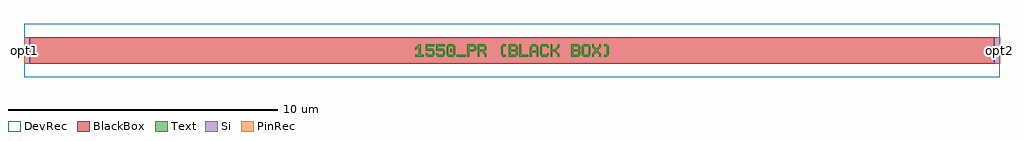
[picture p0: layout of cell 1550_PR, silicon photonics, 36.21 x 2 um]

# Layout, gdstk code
import gdstk
lib = gdstk.Library(unit=1e-6, precision=1e-09)
def R(c, l, rs):  # rectangles x0, y0, x1, y1
    for r in rs: c.add(gdstk.rectangle(r[:2], r[2:], *l))
def P(c, l, *ps):  # polygons
    for p in ps: c.add(gdstk.Polygon(p, *l))
Si = (1, 0)
PinRec = (1, 10)
Text = (10, 0)
DevRec = (68, 0)
BlackBox = (998, 0)

text = lib.new_cell('TEXT')
R(text, Text, [(1.544,0,1.865,0.064), (1.287,0.161,1.351,0.289)])
P(text, Text, [(0,0),(0,0.064),(0.129,0.064),(0.129,0.321),(0.096,0.321),(0.032,0.257),(0,0.257),(0,0.321),(0.129,0.45),(0.193,0.45),(0.193,0.064),(0.321,0.064),(0.321,0)],
  [(0.45,0),(0.386,0.064),(0.386,0.129),(0.45,0.129),(0.45,0.096),(0.482,0.064),(0.611,0.064),(0.643,0.096),(0.643,0.193),(0.611,0.225),(0.386,0.225),(0.386,0.45),(0.707,0.45),(0.707,0.386),(0.45,0.386),(0.45,0.289),(0.643,0.289),(0.707,0.225),(0.707,0.064),(0.643,0)],
  [(0.836,0),(0.772,0.064),(0.772,0.129),(0.836,0.129),(0.836,0.096),(0.868,0.064),(0.997,0.064),(1.029,0.096),(1.029,0.193),(0.997,0.225),(0.772,0.225),(0.772,0.45),(1.093,0.45),(1.093,0.386),(0.836,0.386),(0.836,0.289),(1.029,0.289),(1.093,0.225),(1.093,0.064),(1.029,0)],
  [(1.222,0),(1.158,0.064),(1.158,0.386),(1.222,0.45),(1.415,0.45),(1.479,0.386),(1.254,0.386),(1.222,0.354),(1.222,0.096),(1.254,0.064),(1.383,0.064),(1.415,0.096),(1.415,0.354),(1.383,0.386),(1.479,0.386),(1.479,0.064),(1.415,0)],
  [(1.93,0),(1.93,0.45),(2.187,0.45),(2.251,0.386),(2.251,0.257),(2.187,0.193),(1.994,0.193),(1.994,0.257),(2.155,0.257),(2.187,0.289),(2.187,0.354),(2.155,0.386),(1.994,0.386),(1.994,0)],
  [(2.316,0),(2.316,0.45),(2.573,0.45),(2.637,0.386),(2.38,0.386),(2.38,0.257),(2.541,0.257),(2.573,0.289),(2.573,0.354),(2.541,0.386),(2.637,0.386),(2.637,0.257),(2.573,0.193),(2.573,0.161),(2.637,0.096),(2.637,0),(2.573,0),(2.573,0.064),(2.445,0.193),(2.38,0.193),(2.38,0)],
  [(3.249,0),(3.184,0.064),(3.184,0.386),(3.249,0.45),(3.345,0.45),(3.345,0.386),(3.281,0.386),(3.249,0.354),(3.249,0.096),(3.281,0.064),(3.345,0.064),(3.345,0)],
  [(3.474,0),(3.474,0.45),(3.731,0.45),(3.795,0.386),(3.538,0.386),(3.538,0.257),(3.699,0.257),(3.731,0.289),(3.731,0.354),(3.699,0.386),(3.795,0.386),(3.795,0.257),(3.763,0.225),(3.795,0.193),(3.538,0.193),(3.538,0.064),(3.699,0.064),(3.731,0.096),(3.731,0.161),(3.699,0.193),(3.795,0.193),(3.795,0.064),(3.731,0)],
  [(3.86,0),(3.86,0.45),(3.924,0.45),(3.924,0.064),(4.181,0.064),(4.181,0)],
  [(4.246,0),(4.246,0.354),(4.342,0.45),(4.471,0.45),(4.535,0.386),(4.375,0.386),(4.31,0.321),(4.31,0.225),(4.503,0.225),(4.503,0.321),(4.439,0.386),(4.535,0.386),(4.567,0.354),(4.567,0),(4.503,0),(4.503,0.161),(4.31,0.161),(4.31,0)],
  [(4.696,0),(4.632,0.064),(4.632,0.386),(4.696,0.45),(4.889,0.45),(4.953,0.386),(4.953,0.321),(4.889,0.321),(4.889,0.354),(4.857,0.386),(4.728,0.386),(4.696,0.354),(4.696,0.096),(4.728,0.064),(4.857,0.064),(4.889,0.096),(4.889,0.129),(4.953,0.129),(4.953,0.064),(4.889,0)],
  [(5.018,0),(5.018,0.45),(5.082,0.45),(5.082,0.257),(5.147,0.257),(5.275,0.386),(5.275,0.45),(5.339,0.45),(5.339,0.354),(5.211,0.225),(5.339,0.096),(5.339,0),(5.275,0),(5.275,0.064),(5.147,0.193),(5.082,0.193),(5.082,0)],
  [(5.79,0),(5.79,0.45),(6.047,0.45),(6.111,0.386),(5.854,0.386),(5.854,0.257),(6.015,0.257),(6.047,0.289),(6.047,0.354),(6.015,0.386),(6.111,0.386),(6.111,0.257),(6.079,0.225),(6.111,0.193),(5.854,0.193),(5.854,0.064),(6.015,0.064),(6.047,0.096),(6.047,0.161),(6.015,0.193),(6.111,0.193),(6.111,0.064),(6.047,0)],
  [(6.24,0),(6.176,0.064),(6.176,0.386),(6.24,0.45),(6.433,0.45),(6.497,0.386),(6.497,0.225),(6.433,0.225),(6.433,0.354),(6.401,0.386),(6.272,0.386),(6.24,0.354),(6.24,0.096),(6.272,0.064),(6.401,0.064),(6.433,0.096),(6.433,0.225),(6.497,0.225),(6.497,0.064),(6.433,0)],
  [(6.562,0),(6.562,0.096),(6.658,0.193),(6.658,0.257),(6.562,0.354),(6.562,0.45),(6.626,0.45),(6.626,0.386),(6.723,0.289),(6.819,0.386),(6.819,0.45),(6.883,0.45),(6.883,0.354),(6.787,0.257),(6.787,0.193),(6.883,0.096),(6.883,0),(6.819,0),(6.819,0.064),(6.723,0.161),(6.626,0.064),(6.626,0)],
  [(7.012,0),(7.012,0.064),(7.077,0.064),(7.109,0.096),(7.109,0.354),(7.077,0.386),(7.012,0.386),(7.012,0.45),(7.109,0.45),(7.173,0.386),(7.173,0.064),(7.109,0)])

c_1550_pr = lib.new_cell('1550_PR')
R(c_1550_pr, Si, [(-18.095,-0.5,-17.895,0.5), (17.895,-0.5,18.095,0.5)])
R(c_1550_pr, DevRec, [(-18.095,-1,18.095,1)])
R(c_1550_pr, BlackBox, [(-17.895,-0.5,17.895,0.5)])
c_1550_pr.add(gdstk.FlexPath([(-18.085,0),(-18.105,0)], 1, ends="flush", simple_path=True, layer=1, datatype=10))  # PinRec
c_1550_pr.add(gdstk.FlexPath([(18.085,0),(18.105,0)], 1, ends="flush", simple_path=True, layer=1, datatype=10))  # PinRec
c_1550_pr.add(gdstk.Reference(text, (-3.586,-0.225)))
c_1550_pr.add(gdstk.Label('opt1', (-18.095,0), layer=1, texttype=10))
c_1550_pr.add(gdstk.Label('opt2', (18.095,0), layer=1, texttype=10))

lib.write_gds('1550_PR.gds')
